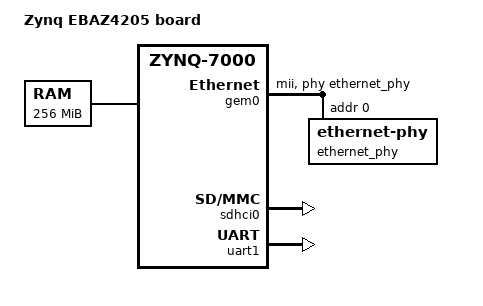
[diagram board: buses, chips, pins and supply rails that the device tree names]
/*****************************************************
 *       Top Device Tree for EBAZ4205 Board          *
 *           Project Terminal Server x16             *
 *                                                   * 
 *   File   : zynq-ebaz4205.dts                      * 
 *   Author : Xiaohai Li (haixiaolee@gmail.com)      * 
 *   Rev    : v0.2 2020-03-16                        * 
 *****************************************************/

/dts-v1/;
#include "zynq-7000-ebaz4205.dtsi"
#include "pcw-ebaz4205.dtsi"
#include "pl-ebaz4205.dtsi"

/ {
	model = "Zynq EBAZ4205 board";
	compatible = "xlnx,zynq-ebaz4205", "xlnx,zynq-7000";

	chosen {
		bootargs = "earlycon";
		stdout-path = "serial0:115200n8";
	};

	aliases {
		ethernet0 = &gem0;
		serial0 = &uart1;
		mmc0 = &sdhci0;
		nand0 = &nand0;
		com0  = &com_x16_com_0;
		com1  = &com_x16_com_1;
		com2  = &com_x16_com_2;
		com3  = &com_x16_com_3;
		com4  = &com_x16_com_4;
		com5  = &com_x16_com_5;
		com6  = &com_x16_com_6;
		com7  = &com_x16_com_7;
		com8  = &com_x16_com_8;
		com9  = &com_x16_com_9;
		com10 = &com_x16_com_10;
		com11 = &com_x16_com_11;
		com12 = &com_x16_com_12;
		com13 = &com_x16_com_13;
		com14 = &com_x16_com_14;
		com15 = &com_x16_com_15;
	};

	memory@0 {
		device_type = "memory";
		reg = <0x0 0x10000000>;
	};
};

&gem0 {
	status = "okay";
	phy-mode = "mii";
	local-mac-address = [00 0A 35 00 00 AA];
	phy-handle = <&ethernet_phy>;

	ethernet_phy: ethernet-phy@0 {
		reg = <0>;
		device_type = "ethernet-phy";
	};
};

&sdhci0 {
	status = "okay";
	xlnx,has-cd = <0x1>;
        xlnx,has-power = <0x0>;
        xlnx,has-wp = <0x0>;
};

&uart1 {
	status = "okay";
};

&nand0 {
	status = "disabled";
};
